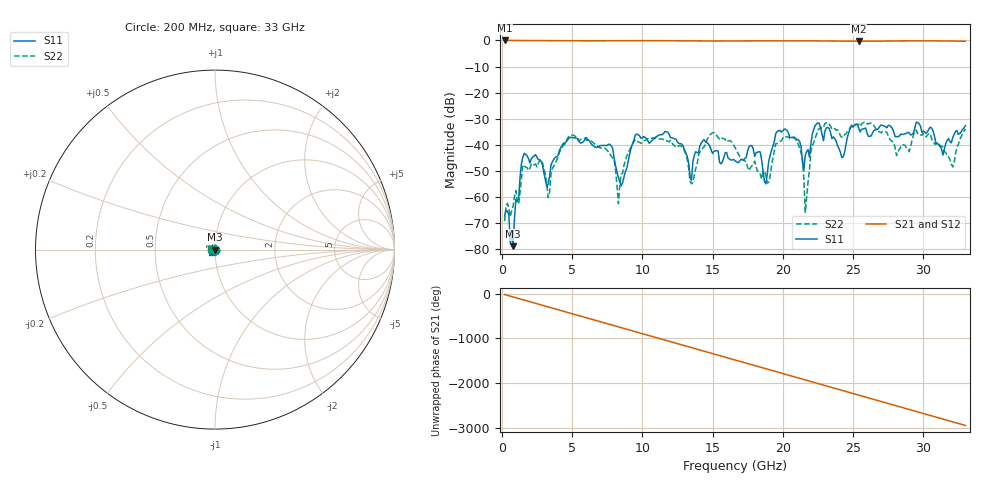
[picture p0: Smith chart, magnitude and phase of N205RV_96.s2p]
# GHZ S RI R 50
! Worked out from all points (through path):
!   329 points, 200 MHz to 33 GHz, reference 50 ohm
!   highest |S21| = -0.01 dB at 200 MHz (marker M1); lowest = -0.3 dB at 25.4 GHz (marker M2)
!   group delay of S21, straight-line fit = 248 ps
!   lowest |S11| = -78.8 dB at 800 MHz (marker M3), VSWR 1.00, Z = 50 + j0.000111 ohm
!   |S11| at or under -10 dB: start of sweep to end of sweep
!   |S22| runs from -69.2 to -31.2 dB; largest |S21 - S12| = 0.0019
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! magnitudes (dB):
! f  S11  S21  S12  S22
! 200 MHz  -67.2  0.0  0.0  -69.2
! 800 MHz  -78.8  0.0  0.0  -63.7
! 1.6 GHz  -43.3  0.0  0.0  -48.0
! 3.3 GHz  -55.1  -0.1  -0.1  -60.2
! 5.7 GHz  -39.2  -0.1  -0.1  -37.7
! 8 GHz  -45.3  -0.1  -0.1  -45.7
! 8.3 GHz  -52.6  -0.1  -0.1  -62.5
! 9.4 GHz  -38.2  -0.1  -0.1  -38.9
! 11.2 GHz  -36.2  -0.1  -0.1  -37.7
! 13.5 GHz  -53.5  -0.2  -0.2  -54.9
! 14.4 GHz  -38.0  -0.2  -0.2  -40.7
! 16.6 GHz  -46.1  -0.2  -0.2  -41.0
! 18.9 GHz  -51.0  -0.2  -0.2  -54.7
! 19.6 GHz  -34.9  -0.1  -0.1  -39.5
! 20.8 GHz  -37.0  -0.1  -0.1  -37.2
! 21.4 GHz  -46.5  -0.2  -0.2  -44.9
! 21.6 GHz  -44.0  -0.1  -0.1  -65.8
! 22.1 GHz  -36.0  -0.2  -0.2  -40.5
! 25.4 GHz  -33.5  -0.3  -0.3  -32.1
! 27.6 GHz  -32.5  -0.2  -0.2  -37.7
! 32.1 GHz  -37.2  -0.2  -0.2  -48.4
! 33 GHz  -32.6  -0.3  -0.3  -33.9
